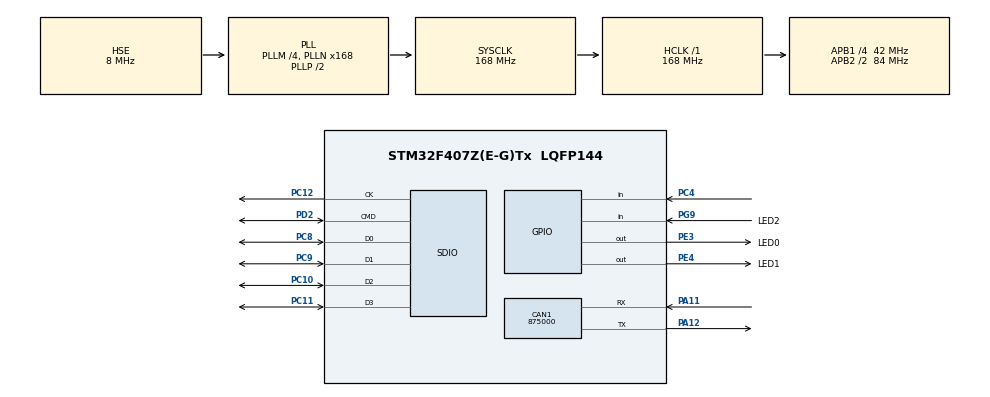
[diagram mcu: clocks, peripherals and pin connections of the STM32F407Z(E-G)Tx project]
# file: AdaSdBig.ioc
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CAN1.ABOM=ENABLE
CAN1.CalculateBaudRate=875000
CAN1.CalculateTimeBit=1142.85
CAN1.CalculateTimeQuantum=380.95238095238096
CAN1.TTCM=ENABLE
Dma.Request0=SDIO_RX
Dma.Request1=SDIO_TX
Dma.SDIO_RX.0.Direction=DMA_PERIPH_TO_MEMORY
Dma.SDIO_RX.0.FIFOMode=DMA_FIFOMODE_ENABLE
Dma.SDIO_RX.0.FIFOThreshold=DMA_FIFO_THRESHOLD_FULL
Dma.SDIO_RX.0.Instance=DMA2_Stream3
Dma.SDIO_RX.0.MemBurst=DMA_MBURST_INC4
Dma.SDIO_RX.0.MemDataAlignment=DMA_MDATAALIGN_WORD
Dma.SDIO_RX.0.MemInc=DMA_MINC_ENABLE
Dma.SDIO_RX.0.Mode=DMA_PFCTRL
Dma.SDIO_RX.0.PeriphBurst=DMA_PBURST_INC4
Dma.SDIO_RX.0.PeriphDataAlignment=DMA_PDATAALIGN_WORD
Dma.SDIO_RX.0.PeriphInc=DMA_PINC_DISABLE
Dma.SDIO_RX.0.Priority=DMA_PRIORITY_LOW
Dma.SDIO_TX.1.Direction=DMA_MEMORY_TO_PERIPH
Dma.SDIO_TX.1.FIFOMode=DMA_FIFOMODE_ENABLE
Dma.SDIO_TX.1.FIFOThreshold=DMA_FIFO_THRESHOLD_FULL
Dma.SDIO_TX.1.Instance=DMA2_Stream6
Dma.SDIO_TX.1.MemBurst=DMA_MBURST_INC4
Dma.SDIO_TX.1.MemDataAlignment=DMA_MDATAALIGN_WORD
Dma.SDIO_TX.1.MemInc=DMA_MINC_ENABLE
Dma.SDIO_TX.1.Mode=DMA_PFCTRL
Dma.SDIO_TX.1.PeriphBurst=DMA_PBURST_INC4
Dma.SDIO_TX.1.PeriphDataAlignment=DMA_PDATAALIGN_WORD
Dma.SDIO_TX.1.PeriphInc=DMA_PINC_DISABLE
Dma.SDIO_TX.1.Priority=DMA_PRIORITY_LOW
FATFS.BSP.number=1
FATFS.USE_DMA_CODE_SD=1
FATFS._FS_EXFAT=1
FATFS._FS_NORTC=0
FATFS._MAX_SS=2048
FATFS._USE_CHMOD=1
FATFS._USE_FIND=1
FATFS._USE_LFN=2
FATFS0.BSP.STBoard=false
FATFS0.BSP.api=Unknown
FATFS0.BSP.i2caddr=0
FATFS0.BSP.instance=PC4
FATFS0.BSP.ip=GPIO
FATFS0.BSP.mode=Input
FATFS0.BSP.name=Detect_SDIO
FATFS0.BSP.solution=PC4
Mcu.Family=STM32F4
Mcu.Name=STM32F407Z(E-G)Tx
Mcu.Package=LQFP144
NVIC.CAN1_RX0_IRQn=true\:0\:0\:false\:false\:true\:true\:true
NVIC.CAN1_RX1_IRQn=true\:0\:0\:false\:false\:true\:true\:true
NVIC.DMA2_Stream3_IRQn=true\:0\:0\:false\:false\:true\:false\:true
NVIC.DMA2_Stream6_IRQn=true\:0\:0\:false\:false\:true\:false\:true
NVIC.PriorityGroup=NVIC_PRIORITYGROUP_4
NVIC.RCC_IRQn=true\:0\:0\:false\:false\:true\:true\:false
NVIC.SDIO_IRQn=true\:0\:0\:false\:false\:true\:true\:true
PA11.Mode=CAN_Activate
PA11.Signal=CAN1_RX
PA12.Mode=CAN_Activate
PA12.Signal=CAN1_TX
PA13.Mode=Serial_Wire
PA13.Signal=SYS_JTMS-SWDIO
PA14.Mode=Serial_Wire
PA14.Signal=SYS_JTCK-SWCLK
PC10.Mode=SD_4_bits_Wide_bus
PC10.Signal=SDIO_D2
PC11.Mode=SD_4_bits_Wide_bus
PC11.Signal=SDIO_D3
PC12.Mode=SD_4_bits_Wide_bus
PC12.Signal=SDIO_CK
PC14-OSC32_IN.Mode=LSE-External-Oscillator
PC14-OSC32_IN.Signal=RCC_OSC32_IN
PC15-OSC32_OUT.Mode=LSE-External-Oscillator
PC15-OSC32_OUT.Signal=RCC_OSC32_OUT
PC4.GPIO_PuPd=GPIO_PULLDOWN
PC4.Signal=GPIO_Input
PC8.Mode=SD_4_bits_Wide_bus
PC8.Signal=SDIO_D0
PC9.Mode=SD_4_bits_Wide_bus
PC9.Signal=SDIO_D1
PD2.Mode=SD_4_bits_Wide_bus
PD2.Signal=SDIO_CMD
PE3.GPIO_Label=LED0
PE3.GPIO_ModeDefaultOutputPP=GPIO_MODE_OUTPUT_OD
PE3.Signal=GPIO_Output
PE4.GPIO_Label=LED1
PE4.GPIO_ModeDefaultOutputPP=GPIO_MODE_OUTPUT_OD
PE4.Signal=GPIO_Output
PG9.GPIO_Label=LED2
PG9.GPIO_PuPd=GPIO_PULLDOWN
PG9.Signal=GPIO_Input
PH0-OSC_IN.Mode=HSE-External-Oscillator
PH0-OSC_IN.Signal=RCC_OSC_IN
PH1-OSC_OUT.Mode=HSE-External-Oscillator
PH1-OSC_OUT.Signal=RCC_OSC_OUT
ProjectManager.HeapSize=0x200
ProjectManager.StackSize=0x400
ProjectManager.TargetToolchain=STM32CubeIDE
RCC.48MHZClocksFreq_Value=48000000
RCC.AHBFreq_Value=168000000
RCC.APB1CLKDivider=RCC_HCLK_DIV4
RCC.APB1Freq_Value=42000000
RCC.APB1TimFreq_Value=84000000
RCC.APB2CLKDivider=RCC_HCLK_DIV2
RCC.APB2Freq_Value=84000000
RCC.APB2TimFreq_Value=168000000
RCC.CortexFreq_Value=168000000
RCC.HCLKFreq_Value=168000000
RCC.HSE_VALUE=8000000
RCC.HSI_VALUE=16000000
RCC.PLLM=4
RCC.PLLN=168
RCC.PLLQ=7
RCC.PLLSourceVirtual=RCC_PLLSOURCE_HSE
RCC.RCC_RTC_Clock_Source=RCC_RTCCLKSOURCE_LSE
RCC.RCC_RTC_Clock_SourceVirtual=RCC_RTCCLKSOURCE_LSE
RCC.SYSCLKFreq_VALUE=168000000
RCC.SYSCLKSource=RCC_SYSCLKSOURCE_PLLCLK
RCC.VCOOutputFreq_Value=336000000
RTC.AsynchPrediv=0
RTC.SynchPrediv=32767
VP_CRC_VS_CRC.Mode=CRC_Activate
VP_FATFS_VS_SDIO.Mode=SDIO
VP_RTC_VS_RTC_Activate.Mode=RTC_Enabled
board=custom

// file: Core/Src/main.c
/* USER CODE BEGIN Header */
/**
  ******************************************************************************
  * @file           : main.c
  * @brief          : Main program body
  ******************************************************************************
  * @attention
  *
  * <h2><center>&copy; Copyright (c) 2021 STMicroelectronics.
  * All rights reserved.</center></h2>
  *
  * This software component is licensed by ST under BSD 3-Clause license,
  * the "License"; You may not use this file except in compliance with the
  * License. You may obtain a copy of the License at:
  *                        opensource.org/licenses/BSD-3-Clause
  *
  ******************************************************************************
  */
/* USER CODE END Header */
#include "main.h"
#include "fatfs.h"

/* USER CODE BEGIN Includes */
#include <string.h>
#include <stdio.h>
//#include "usbd_cdc_if.h"
/* USER CODE END Includes */

CAN_HandleTypeDef hcan1;

CRC_HandleTypeDef hcrc;

RTC_HandleTypeDef hrtc;

SD_HandleTypeDef hsd;
DMA_HandleTypeDef hdma_sdio_rx;
DMA_HandleTypeDef hdma_sdio_tx;

void SystemClock_Config(void);
static void MX_GPIO_Init(void);
static void MX_DMA_Init(void);
static void MX_RTC_Init(void);
static void MX_SDIO_SD_Init(void);
static void MX_CRC_Init(void);
static void MX_CAN1_Init(void);
/* USER CODE BEGIN PFP */
void GetRtcSecond(void);
FRESULT InitBSP(void);
FRESULT InitToFile(char* path, size_t path_len, char* msg, size_t msg_len);
FRESULT AppendToFile(char* path, size_t path_len, char* msg, size_t msg_len);
FRESULT set_timestamp (char* obj, int year, int month, int mday, int hour, int min, int sec);

void BlinkLED(uint32_t blink_delay, uint8_t num_blinks);

float microseconds;
RTC_TimeTypeDef timeVar;
RTC_DateTypeDef dateVar;
int BSPInited = 0;
uint8_t timeSetup = 0;

//FS_NORTC
/* USER CODE END PFP */

int main(void)
{
  /* USER CODE BEGIN 1 */
	  FRESULT fres;
	  //uint32_t raw_sec;
	  //float temp_c;
	  char log_path[20];
	  char buf[20];
  /* USER CODE END 1 */

  /* MCU Configuration--------------------------------------------------------*/

  /* Reset of all peripherals, Initializes the Flash interface and the Systick. */
  HAL_Init();

  /* Configure the system clock */
  SystemClock_Config();

  /* Initialize all configured peripherals */
  MX_GPIO_Init();
  MX_DMA_Init();
  MX_RTC_Init();
  MX_SDIO_SD_Init();
  MX_FATFS_Init();
  MX_CRC_Init();
  MX_CAN1_Init();
  /* USER CODE BEGIN 2 */
  HAL_Delay(1000);
  GetRtcSecond();

  InitBSP();

  sprintf((char*)log_path,"/20%02d%02d%02d_%02d%02d%02d.asc",(int)dateVar.Year,(int)dateVar.Month,(int)dateVar.Date,(int)timeVar.Hours,(int)timeVar.Minutes,(int)timeVar.Seconds );
  sprintf((char*)buf,"INI TFILE");
  InitToFile(log_path, strlen(log_path), buf, strlen(buf));
  /* USER CODE END 2 */

  /* Infinite loop */
  /* USER CODE BEGIN WHILE */
  while (1)
  {
	  HAL_GPIO_WritePin(GPIOE, LED0_Pin|LED1_Pin, GPIO_PIN_SET);
	  //raw_sec = GetRtcSecond();
	  //raw_sec = 10000;
	  GetRtcSecond();
	    //if ( raw_sec == 0 ) {
	   //   BlinkLED(100, 5);
	   // } else {

	  microseconds = (float)timeVar.Seconds+ (float)(32768-timeVar.SubSeconds)/(32768);
	      // Convert temperature to decimal format (without float conversion)

	      sprintf((char*)buf,
	    		  "%02d:%02d:%.4f\r\n",
				  (int)timeVar.Hours,(int)timeVar.Minutes,(float)microseconds);

	      // Print temperature to console
	      //CDC_Transmit_FS((uint8_t*)buf, strlen(buf));

	      // Turn LED on while writing to file

	      fres = AppendToFile(log_path, strlen(log_path), buf, strlen(buf));
	      HAL_GPIO_WritePin(GPIOE, LED0_Pin|LED1_Pin, GPIO_PIN_RESET);

	      // If error writing to card, blink 3 times
	      if ( fres != FR_OK) {
		      sprintf((char*)buf,
		    		  "%d\n",
					  fres);
		      //AppendToFile(log_path, strlen(log_path), buf, strlen(buf));
		      //CDC_Transmit_FS((uint8_t*)buf, strlen(buf));
	        BlinkLED(100, 3);
	      }
	   // }
//HAL_SD_MspInit
	  //BlinkLED(100, 5);
	    // Wait before sampling again

	  //HAL_GPIO_WritePin(GPIOA, 6, GPIO_PIN_SET);
	  //HAL_GPIO_WritePin(GPIOA, LED2_Pin|LED3_Pin, GPIO_PIN_SET);
	  //HAL_Delay(1000);
	  //HAL_GPIO_WritePin(GPIOA, LED2_Pin|LED3_Pin, GPIO_PIN_RESET);
	  //HAL_GPIO_WritePin(GPIOA, 6, GPIO_PIN_RESET);
	  HAL_Delay(1);
    /* USER CODE END WHILE */

  }
}

void SystemClock_Config(void)
{
  RCC_OscInitTypeDef RCC_OscInitStruct = {0};
  RCC_ClkInitTypeDef RCC_ClkInitStruct = {0};
  RCC_PeriphCLKInitTypeDef PeriphClkInitStruct = {0};

  /** Configure the main internal regulator output voltage
  */
  __HAL_RCC_PWR_CLK_ENABLE();
  __HAL_PWR_VOLTAGESCALING_CONFIG(PWR_REGULATOR_VOLTAGE_SCALE1);
  /** Initializes the RCC Oscillators according to the specified parameters
  * in the RCC_OscInitTypeDef structure.
  */
  RCC_OscInitStruct.OscillatorType = RCC_OSCILLATORTYPE_HSE|RCC_OSCILLATORTYPE_LSE;
  RCC_OscInitStruct.HSEState = RCC_HSE_ON;
  RCC_OscInitStruct.LSEState = RCC_LSE_ON;
  RCC_OscInitStruct.PLL.PLLState = RCC_PLL_ON;
  RCC_OscInitStruct.PLL.PLLSource = RCC_PLLSOURCE_HSE;
  RCC_OscInitStruct.PLL.PLLM = 4;
  RCC_OscInitStruct.PLL.PLLN = 168;
  RCC_OscInitStruct.PLL.PLLP = RCC_PLLP_DIV2;
  RCC_OscInitStruct.PLL.PLLQ = 7;
  if (HAL_RCC_OscConfig(&RCC_OscInitStruct) != HAL_OK)
  {
    Error_Handler();
  }
  /** Initializes the CPU, AHB and APB buses clocks
  */
  RCC_ClkInitStruct.ClockType = RCC_CLOCKTYPE_HCLK|RCC_CLOCKTYPE_SYSCLK
                              |RCC_CLOCKTYPE_PCLK1|RCC_CLOCKTYPE_PCLK2;
  RCC_ClkInitStruct.SYSCLKSource = RCC_SYSCLKSOURCE_PLLCLK;
  RCC_ClkInitStruct.AHBCLKDivider = RCC_SYSCLK_DIV1;
  RCC_ClkInitStruct.APB1CLKDivider = RCC_HCLK_DIV4;
  RCC_ClkInitStruct.APB2CLKDivider = RCC_HCLK_DIV2;

  if (HAL_RCC_ClockConfig(&RCC_ClkInitStruct, FLASH_LATENCY_5) != HAL_OK)
  {
    Error_Handler();
  }
  PeriphClkInitStruct.PeriphClockSelection = RCC_PERIPHCLK_RTC;
  PeriphClkInitStruct.RTCClockSelection = RCC_RTCCLKSOURCE_LSE;
  if (HAL_RCCEx_PeriphCLKConfig(&PeriphClkInitStruct) != HAL_OK)
  {
    Error_Handler();
  }
}

static void MX_CAN1_Init(void)
{

  hcan1.Instance = CAN1;
  hcan1.Init.Prescaler = 16;
  hcan1.Init.Mode = CAN_MODE_NORMAL;
  hcan1.Init.SyncJumpWidth = CAN_SJW_1TQ;
  hcan1.Init.TimeSeg1 = CAN_BS1_1TQ;
  hcan1.Init.TimeSeg2 = CAN_BS2_1TQ;
  hcan1.Init.TimeTriggeredMode = ENABLE;
  hcan1.Init.AutoBusOff = ENABLE;
  hcan1.Init.AutoWakeUp = DISABLE;
  hcan1.Init.AutoRetransmission = DISABLE;
  hcan1.Init.ReceiveFifoLocked = DISABLE;
  hcan1.Init.TransmitFifoPriority = DISABLE;
  if (HAL_CAN_Init(&hcan1) != HAL_OK)
  {
    Error_Handler();
  }

}

static void MX_CRC_Init(void)
{

  hcrc.Instance = CRC;
  if (HAL_CRC_Init(&hcrc) != HAL_OK)
  {
    Error_Handler();
  }

}

static void MX_RTC_Init(void)
{

  /** Initialize RTC Only
  */
  hrtc.Instance = RTC;
  hrtc.Init.HourFormat = RTC_HOURFORMAT_24;
  hrtc.Init.AsynchPrediv = 0;
  hrtc.Init.SynchPrediv = 32767;
  hrtc.Init.OutPut = RTC_OUTPUT_DISABLE;
  hrtc.Init.OutPutPolarity = RTC_OUTPUT_POLARITY_HIGH;
  hrtc.Init.OutPutType = RTC_OUTPUT_TYPE_OPENDRAIN;
  if (HAL_RTC_Init(&hrtc) != HAL_OK)
  {
    Error_Handler();
  }
  /* USER CODE BEGIN RTC_Init 2 */
  /** Initialize RTC and set the Time and Date
  */
//  sTime.Hours = 0x20;
//  sTime.Minutes = 0x02;
//  sTime.Seconds = 0x0;
//  sTime.DayLightSaving = RTC_DAYLIGHTSAVING_NONE;
//  sTime.StoreOperation = RTC_STOREOPERATION_RESET;
//  if (HAL_RTC_SetTime(&hrtc, &sTime, RTC_FORMAT_BCD) != HAL_OK)
//  {
//    Error_Handler();
//  }
//  sDate.WeekDay = RTC_WEEKDAY_TUESDAY;
//  sDate.Month = RTC_MONTH_MARCH;
//  sDate.Date = 0x2;
//  sDate.Year = 0x21;
//
//  if (HAL_RTC_SetDate(&hrtc, &sDate, RTC_FORMAT_BCD) != HAL_OK)
//  {
//    Error_Handler();
//  }
  /* USER CODE END RTC_Init 2 */

}

static void MX_SDIO_SD_Init(void)
{

  hsd.Instance = SDIO;
  hsd.Init.ClockEdge = SDIO_CLOCK_EDGE_RISING;
  hsd.Init.ClockBypass = SDIO_CLOCK_BYPASS_DISABLE;
  hsd.Init.ClockPowerSave = SDIO_CLOCK_POWER_SAVE_DISABLE;
  hsd.Init.BusWide = SDIO_BUS_WIDE_1B;
  hsd.Init.HardwareFlowControl = SDIO_HARDWARE_FLOW_CONTROL_DISABLE;
  hsd.Init.ClockDiv = 0;

}

static void MX_DMA_Init(void)
{

  /* DMA controller clock enable */
  __HAL_RCC_DMA2_CLK_ENABLE();

  /* DMA interrupt init */
  /* DMA2_Stream3_IRQn interrupt configuration */
  HAL_NVIC_SetPriority(DMA2_Stream3_IRQn, 0, 0);
  HAL_NVIC_EnableIRQ(DMA2_Stream3_IRQn);
  /* DMA2_Stream6_IRQn interrupt configuration */
  HAL_NVIC_SetPriority(DMA2_Stream6_IRQn, 0, 0);
  HAL_NVIC_EnableIRQ(DMA2_Stream6_IRQn);

}

static void MX_GPIO_Init(void)
{
  GPIO_InitTypeDef GPIO_InitStruct = {0};

  /* GPIO Ports Clock Enable */
  __HAL_RCC_GPIOE_CLK_ENABLE();
  __HAL_RCC_GPIOC_CLK_ENABLE();
  __HAL_RCC_GPIOH_CLK_ENABLE();
  __HAL_RCC_GPIOA_CLK_ENABLE();
  __HAL_RCC_GPIOD_CLK_ENABLE();
  __HAL_RCC_GPIOG_CLK_ENABLE();

  /*Configure GPIO pin Output Level */
  HAL_GPIO_WritePin(GPIOE, LED0_Pin|LED1_Pin, GPIO_PIN_RESET);

  /*Configure GPIO pins : LED0_Pin LED1_Pin */
  GPIO_InitStruct.Pin = LED0_Pin|LED1_Pin;
  GPIO_InitStruct.Mode = GPIO_MODE_OUTPUT_OD;
  GPIO_InitStruct.Pull = GPIO_NOPULL;
  GPIO_InitStruct.Speed = GPIO_SPEED_FREQ_LOW;
  HAL_GPIO_Init(GPIOE, &GPIO_InitStruct);

  /*Configure GPIO pin : PC4 */
  GPIO_InitStruct.Pin = GPIO_PIN_4;
  GPIO_InitStruct.Mode = GPIO_MODE_INPUT;
  GPIO_InitStruct.Pull = GPIO_PULLDOWN;
  HAL_GPIO_Init(GPIOC, &GPIO_InitStruct);

  /*Configure GPIO pin : LED2_Pin */
  GPIO_InitStruct.Pin = LED2_Pin;
  GPIO_InitStruct.Mode = GPIO_MODE_INPUT;
  GPIO_InitStruct.Pull = GPIO_PULLDOWN;
  HAL_GPIO_Init(LED2_GPIO_Port, &GPIO_InitStruct);

}

/* USER CODE BEGIN 4 */
void GetRtcSecond(void)
{

    //  HAL_GPIO_TogglePin(LEDR_GPIO_Port, LEDR_Pin);
//  if(HAL_RTC_WaitForSynchro(&hrtc) == HAL_OK){

        if (HAL_RTC_GetTime(&hrtc,&timeVar,RTC_FORMAT_BIN) != HAL_OK)
        {
          Error_Handler();
        }
        if (HAL_RTC_GetDate(&hrtc,&dateVar,RTC_FORMAT_BIN) != HAL_OK)
        {
          Error_Handler();
        }

        //return timeVar.SubSeconds;
}

FRESULT InitBSP(void){

	  // Re-initialize SD
	  if(!BSPInited){
		  if ( BSP_SD_Init() != MSD_OK ) {
			  BSPInited = 1;
		    return FR_NOT_READY;
		  }
		  // Re-initialize FATFS
		  if ( FATFS_UnLinkDriver(SDPath) != 0 ) {
		    return FR_NOT_READY;
		  }
		  if ( FATFS_LinkDriver(&SD_Driver, SDPath) != 0 ) {
		    return FR_NOT_READY;
		  }
	  }

}

// Init string to file given at path
FRESULT InitToFile(char* path, size_t path_len, char* msg, size_t msg_len) {

  FATFS fs;
  FIL myFILE;
  UINT testByte;
  FRESULT stat;

  FILINFO myINFO;
  DWORD temp;

  // Mount filesystem
  stat = f_mount(&fs, SDPath, 0);
  if (stat != FR_OK) {
    f_mount(0, SDPath, 0);
    return stat;
  }

  // Open file for appending
  stat = f_open(&myFILE, path, FA_WRITE | FA_OPEN_APPEND);
  if (stat != FR_OK) {
    f_mount(0, SDPath, 0);
    return stat;
  }

  // Write message to end of file
  stat = f_write(&myFILE, msg, msg_len, &testByte);
  if (stat != FR_OK) {
    f_mount(0, SDPath, 0);
    return stat;
  }

  //Write file modify time
//  GetRtcSecond();
//  myINFO.fdate = (WORD)(((dateVar.Year+2000 - 1980) * 512U) | dateVar.Month * 32U | dateVar.Date);
//  myINFO.ftime = (WORD)(timeVar.Hours * 2048U | timeVar.Minutes * 32U | timeVar.Seconds / 2U);
//  stat = f_utime(path, &myINFO);
//  if (stat != FR_OK) {
//	f_mount(0, SDPath, 0);
//	return stat;
//  }

  // Sync, close file, unmount
  stat = f_close(&myFILE);
  f_mount(0, SDPath, 0);

  return stat;
}

// Append string to file given at path
FRESULT AppendToFile(char* path, size_t path_len, char* msg, size_t msg_len) {

  FATFS fs;
  FIL myFILE;
  UINT testByte;
  FRESULT stat;

  FILINFO myINFO;
  DWORD temp;

  // Mount filesystem
  stat = f_mount(&fs, SDPath, 0);
  if (stat != FR_OK) {
    f_mount(0, SDPath, 0);
    return stat;
  }

  // Open file for appending
  stat = f_open(&myFILE, path, FA_WRITE | FA_OPEN_APPEND);
  if (stat != FR_OK) {
    f_mount(0, SDPath, 0);
    return stat;
  }

  // Write message to end of file
  stat = f_write(&myFILE, msg, msg_len, &testByte);
  if (stat != FR_OK) {
    f_mount(0, SDPath, 0);
    return stat;
  }

//  //Write file modify time
//  GetRtcSecond();
//  myINFO.fdate = (WORD)(((dateVar.Year+2000 - 1980) * 512U) | dateVar.Month * 32U | dateVar.Date);
//  myINFO.ftime = (WORD)(timeVar.Hours * 2048U | timeVar.Minutes * 32U | timeVar.Seconds / 2U);
//  stat = f_utime(path, &myINFO);
//  if (stat != FR_OK) {
//	f_mount(0, SDPath, 0);
//	return stat;
//  }

  //temp = get_fattime();
  // Sync, close file, unmount
  stat = f_close(&myFILE);
  f_mount(0, SDPath, 0);

  return stat;
}
//_FS_NORTC

FRESULT set_timestamp (char *obj, int year, int month, int mday, int hour, int min,  int sec)
{
    FILINFO fno;

    fno.fdate = (WORD)(((year+2000 - 1980) * 512U) | month * 32U | mday);
    fno.ftime = (WORD)(hour * 2048U | min * 32U | sec / 2U);
    //fno.fdate = get_fattime() >>16;
    //fno.ftime = get_fattime() & 0xFFFF;

    return f_utime(obj, &fno);
}

// Blink onboard LED
void BlinkLED(uint32_t blink_delay, uint8_t num_blinks) {
  for ( int i = 0; i < num_blinks; i++ ) {
    //HAL_GPIO_WritePin(GPIOA, 7, GPIO_PIN_SET);
    HAL_GPIO_WritePin(GPIOE, LED0_Pin|LED1_Pin, GPIO_PIN_SET);
    HAL_Delay(blink_delay);
    //HAL_GPIO_WritePin(GPIOA, 7, GPIO_PIN_RESET);
    HAL_GPIO_WritePin(GPIOE, LED0_Pin|LED1_Pin, GPIO_PIN_RESET);
    HAL_Delay(blink_delay);
  }
}

/* USER CODE END 4 */

void Error_Handler(void)
{
  __disable_irq();
  while (1)
  {
  }
}

/************************ (C) COPYRIGHT STMicroelectronics *****END OF FILE****/
